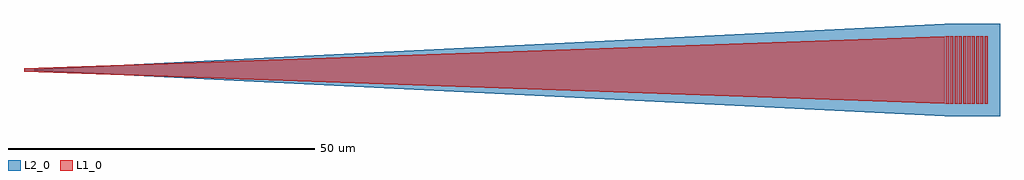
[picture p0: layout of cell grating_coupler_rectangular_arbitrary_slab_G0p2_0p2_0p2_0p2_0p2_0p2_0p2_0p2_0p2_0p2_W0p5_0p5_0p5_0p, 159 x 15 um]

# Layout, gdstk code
import gdstk
lib = gdstk.Library(unit=1e-6, precision=1e-09)
def R(c, l, rs):  # rectangles x0, y0, x1, y1
    for r in rs: c.add(gdstk.rectangle(r[:2], r[2:], *l))
def P(c, l, *ps):  # polygons
    for p in ps: c.add(gdstk.Polygon(p, *l))
L1_0 = (1, 0)
L2_0 = (2, 0)

taper_l150_w0p5_w11_pnon = lib.new_cell('taper_L150_W0p5_W11_PNone_WTPTrue_CSxs_34e31a19_PNo1_o2_PToptical_optical_WBTrue')
P(taper_l150_w0p5_w11_pnon, L1_0, [(150,-5.5),(0,-0.25),(0,0.25),(150,5.5)])

taper_l150_w0p15_w15_pno = lib.new_cell('taper_L150_W0p15_W15_PNone_WTPTrue_CSxs_af6bb8da_PNo1_o2_PToptical_optical_WBFalse')
P(taper_l150_w0p15_w15_pno, L2_0, [(150,-7.5),(0,-0.075),(0,0.075),(150,7.5)])

taper_strip_to_ridge_l15 = lib.new_cell('taper_strip_to_ridge_L150_W0p5_W11_WS0p15_WS15_LWWG_LSSLAB150_CSstrip_USPFalse')
taper_strip_to_ridge_l15.add(gdstk.Reference(taper_l150_w0p5_w11_pnon, (0,0)))
taper_strip_to_ridge_l15.add(gdstk.Reference(taper_l150_w0p15_w15_pno, (0,0)))

compass_s0p5_11_lwg_ptno = lib.new_cell('compass_S0p5_11_LWG_PTNone_PI0_PO180_90_0_m90')
R(compass_s0p5_11_lwg_ptno, L1_0, [(-0.25,-5.5,0.25,5.5)])

rectangle_s0p5_11_lwg_ct = lib.new_cell('rectangle_S0p5_11_LWG_CTrue_PTNone_PO180_90_0_m90')
rectangle_s0p5_11_lwg_ct.add(gdstk.Reference(compass_s0p5_11_lwg_ptno, (0,0)))

compass_s9_15_lslab150_p = lib.new_cell('compass_S9_15_LSLAB150_PTNone_PI0_PO180_90_0_m90')
R(compass_s9_15_lslab150_p, L2_0, [(-4.5,-7.5,4.5,7.5)])

rectangle_s9_15_lslab150 = lib.new_cell('rectangle_S9_15_LSLAB150_CTrue_PTNone_PO180_90_0_m90')
rectangle_s9_15_lslab150.add(gdstk.Reference(compass_s9_15_lslab150_p, (0,0)))

grating_coupler_rectangu = lib.new_cell('grating_coupler_rectangular_arbitrary_slab_G0p2_0p2_0p2_0p2_0p2_0p2_0p2_0p2_0p2_0p2_W0p5_0p5_0p5_0p')
grating_coupler_rectangu.add(gdstk.Reference(taper_strip_to_ridge_l15, (0,0)))
grating_coupler_rectangu.add(gdstk.Reference(rectangle_s0p5_11_lwg_ct, (150.45,0)))
grating_coupler_rectangu.add(gdstk.Reference(rectangle_s0p5_11_lwg_ct, (151.15,0)))
grating_coupler_rectangu.add(gdstk.Reference(rectangle_s0p5_11_lwg_ct, (151.85,0)))
grating_coupler_rectangu.add(gdstk.Reference(rectangle_s0p5_11_lwg_ct, (152.55,0)))
grating_coupler_rectangu.add(gdstk.Reference(rectangle_s0p5_11_lwg_ct, (153.25,0)))
grating_coupler_rectangu.add(gdstk.Reference(rectangle_s0p5_11_lwg_ct, (153.95,0)))
grating_coupler_rectangu.add(gdstk.Reference(rectangle_s0p5_11_lwg_ct, (154.65,0)))
grating_coupler_rectangu.add(gdstk.Reference(rectangle_s0p5_11_lwg_ct, (155.35,0)))
grating_coupler_rectangu.add(gdstk.Reference(rectangle_s0p5_11_lwg_ct, (156.05,0)))
grating_coupler_rectangu.add(gdstk.Reference(rectangle_s0p5_11_lwg_ct, (156.75,0)))
grating_coupler_rectangu.add(gdstk.Reference(rectangle_s9_15_lslab150, (154.5,0)))

lib.write_gds('grating_coupler_rectangular_arbitrary_slab_G0p2_0p2_0p2_0p2_0p2_0p2_0p2_0p2_0p2_0p2_W0p5_0p5_0p5_0p.gds')
